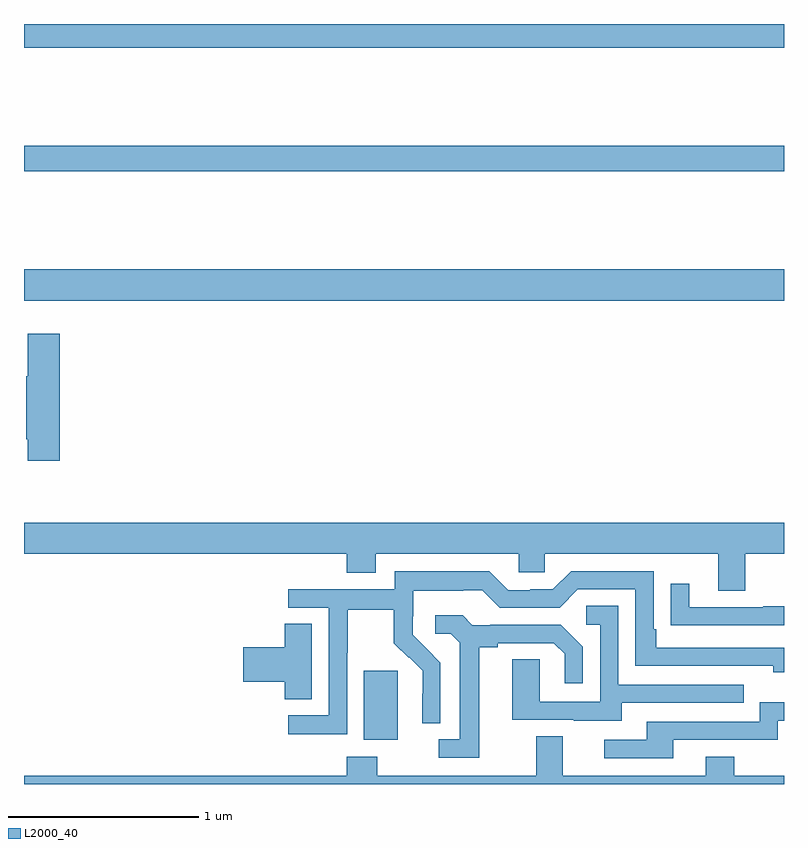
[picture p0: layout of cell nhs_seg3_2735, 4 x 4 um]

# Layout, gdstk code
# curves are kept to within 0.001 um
import gdstk
lib = gdstk.Library(unit=1e-6, precision=1e-09)
def R(c, l, rs):  # rectangles x0, y0, x1, y1
    for r in rs: c.add(gdstk.rectangle(r[:2], r[2:], *l))
def P(c, l, *ps):  # polygons
    for p in ps: c.add(gdstk.Polygon(p, *l))
L2000_40 = (2000, 40)

nhs_seg3_2735 = lib.new_cell('nhs_seg3_2735')
R(nhs_seg3_2735, L2000_40, [(254.789,670.634,254.968,670.995), (253,672.944,257,673.108), (253,673.624,257,673.76), (253,674.276,257,674.4)])
P(nhs_seg3_2735, L2000_40, [(253.187,672.769),(253.019,672.769),(253.019,672.545),(253.012,672.545),(253.012,672.214),(253.019,672.214),(253.019,672.102),(253.187,672.102)],
  [(256.795,671.612),(257,671.612),(257,671.776),(253,671.776),(253,671.612),(254.699,671.612),(254.699,671.513),(254.851,671.513),(254.851,671.612),(255.603,671.612),(255.603,671.514),(255.741,671.514),(255.741,671.612),(256.655,671.612),(256.655,671.418),(256.795,671.418)],
  [(254.7,671.092),(254.703,671.092),(254.703,671.316),(254.947,671.316),(254.947,671.141),(255.024,671.064),(255.027,671.067),(255.098,670.997),(255.098,670.874),(255.096,670.874),(255.096,670.72),(255.192,670.72),(255.192,671.038),(255.046,671.186),(255.046,671.283),(255.048,671.283),(255.048,671.417),(255.311,671.417),(255.311,671.421),(255.411,671.421),(255.504,671.328),(255.819,671.328),(255.915,671.424),(256.218,671.424),(256.218,671.022),(256.943,671.022),(256.943,670.988),(257,670.988),(257,671.118),(256.327,671.118),(256.327,671.215),(256.314,671.215),(256.314,671.52),(255.879,671.52),(255.783,671.424),(255.665,671.424),(255.665,671.421),(255.549,671.421),(255.449,671.521),(254.952,671.521),(254.952,671.424),(254.391,671.424),(254.391,671.328),(254.604,671.328),(254.604,670.761),(254.391,670.761),(254.391,670.663),(254.7,670.663)],
  [(257,671.336),(256.891,671.336),(256.891,671.331),(256.501,671.331),(256.501,671.455),(256.405,671.455),(256.405,671.236),(256.507,671.236),(256.507,671.235),(257,671.235)],
  [(256.147,670.827),(256.787,670.827),(256.787,670.923),(256.128,670.923),(256.128,671.339),(255.96,671.339),(255.96,671.238),(256.032,671.238),(256.032,670.833),(255.714,670.833),(255.714,671.057),(255.569,671.057),(255.569,670.737),(255.893,670.737),(255.893,670.733),(256.147,670.733)],
  [(255.397,671.12),(255.493,671.12),(255.493,671.142),(255.788,671.142),(255.845,671.085),(255.845,670.929),(255.942,670.929),(255.942,671.122),(255.826,671.238),(255.454,671.238),(255.454,671.235),(255.36,671.235),(255.308,671.287),(255.165,671.287),(255.165,671.19),(255.246,671.19),(255.293,671.143),(255.293,670.635),(255.183,670.635),(255.183,670.539),(255.397,670.539)],
  [(254.515,671.243),(254.372,671.243),(254.372,671.12),(254.154,671.12),(254.154,670.937),(254.372,670.937),(254.372,670.846),(254.515,670.846)],
  [(256.417,670.632),(256.968,670.632),(256.968,670.734),(257,670.734),(257,670.831),(256.872,670.831),(256.872,670.728),(256.277,670.728),(256.277,670.632),(256.053,670.632),(256.053,670.536),(256.417,670.536)],
  [(257,670.444),(256.737,670.444),(256.737,670.543),(256.589,670.543),(256.589,670.444),(255.835,670.444),(255.835,670.652),(255.695,670.652),(255.695,670.444),(254.859,670.444),(254.859,670.543),(254.699,670.543),(254.699,670.444),(253,670.444),(253,670.4),(257,670.4)])

lib.write_gds('nhs_seg3_2735.gds')
